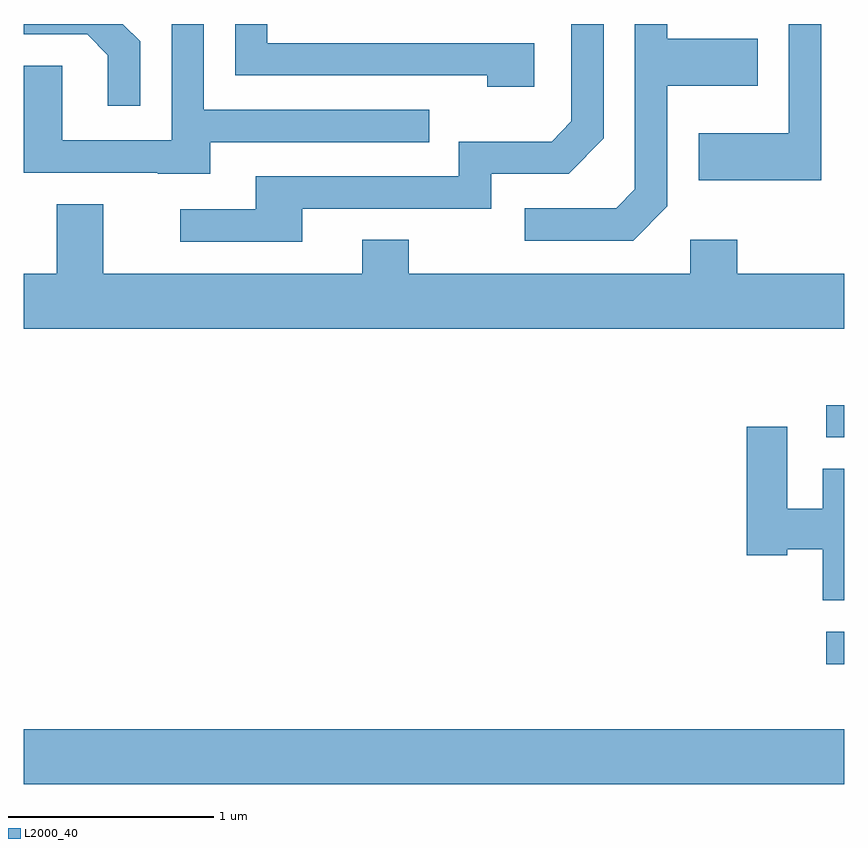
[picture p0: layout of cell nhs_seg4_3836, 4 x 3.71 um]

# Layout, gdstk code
import gdstk
lib = gdstk.Library(unit=1e-6, precision=1e-09)
def R(c, l, rs):  # rectangles x0, y0, x1, y1
    for r in rs: c.add(gdstk.rectangle(r[:2], r[2:], *l))
def P(c, l, *ps):  # polygons
    for p in ps: c.add(gdstk.Polygon(p, *l))
L2000_40 = (2000, 40)

nhs_seg4_3836 = lib.new_cell('nhs_seg4_3836')
R(nhs_seg4_3836, L2000_40, [(297.611,1310.276,301.611,1310.544), (301.523,1310.861,301.611,1311.019), (301.523,1311.966,301.611,1312.124)])
P(nhs_seg4_3836, L2000_40, [(300.099,1313.889),(298.799,1313.889),(298.799,1313.982),(298.641,1313.982),(298.641,1313.731),(299.871,1313.731),(299.871,1313.676),(300.099,1313.676)],
  [(298.969,1313.081),(299.889,1313.081),(299.889,1313.251),(300.267,1313.251),(300.439,1313.424),(300.439,1313.982),(300.281,1313.982),(300.281,1313.507),(300.184,1313.409),(299.731,1313.409),(299.731,1313.239),(298.741,1313.239),(298.741,1313.079),(298.373,1313.079),(298.373,1312.921),(298.969,1312.921)],
  [(300.749,1313.094),(300.749,1313.681),(301.189,1313.681),(301.189,1313.909),(300.749,1313.909),(300.749,1313.982),(300.591,1313.982),(300.591,1313.177),(300.499,1313.084),(300.053,1313.084),(300.053,1312.926),(300.582,1312.926)],
  [(298.179,1313.897),(298.094,1313.982),(297.611,1313.982),(297.611,1313.931),(297.919,1313.931),(298.021,1313.829),(298.021,1313.583),(298.179,1313.583)],
  [(298.519,1313.406),(299.588,1313.406),(299.588,1313.564),(298.489,1313.564),(298.489,1313.982),(298.331,1313.982),(298.331,1313.414),(297.799,1313.414),(297.799,1313.779),(297.611,1313.779),(297.611,1313.256),(298.265,1313.256),(298.265,1313.251),(298.519,1313.251)],
  [(301.499,1313.982),(301.341,1313.982),(301.341,1313.449),(300.901,1313.449),(300.901,1313.221),(301.499,1313.221)],
  [(301.611,1312.764),(301.089,1312.764),(301.089,1312.929),(300.861,1312.929),(300.861,1312.764),(299.489,1312.764),(299.489,1312.929),(299.261,1312.929),(299.261,1312.764),(297.999,1312.764),(297.999,1313.104),(297.771,1313.104),(297.771,1312.764),(297.611,1312.764),(297.611,1312.496),(301.611,1312.496)],
  [(301.611,1311.814),(301.506,1311.814),(301.506,1311.619),(301.334,1311.619),(301.334,1312.019),(301.136,1312.019),(301.136,1311.391),(301.334,1311.391),(301.334,1311.421),(301.506,1311.421),(301.506,1311.171),(301.611,1311.171)])

lib.write_gds('nhs_seg4_3836.gds')
